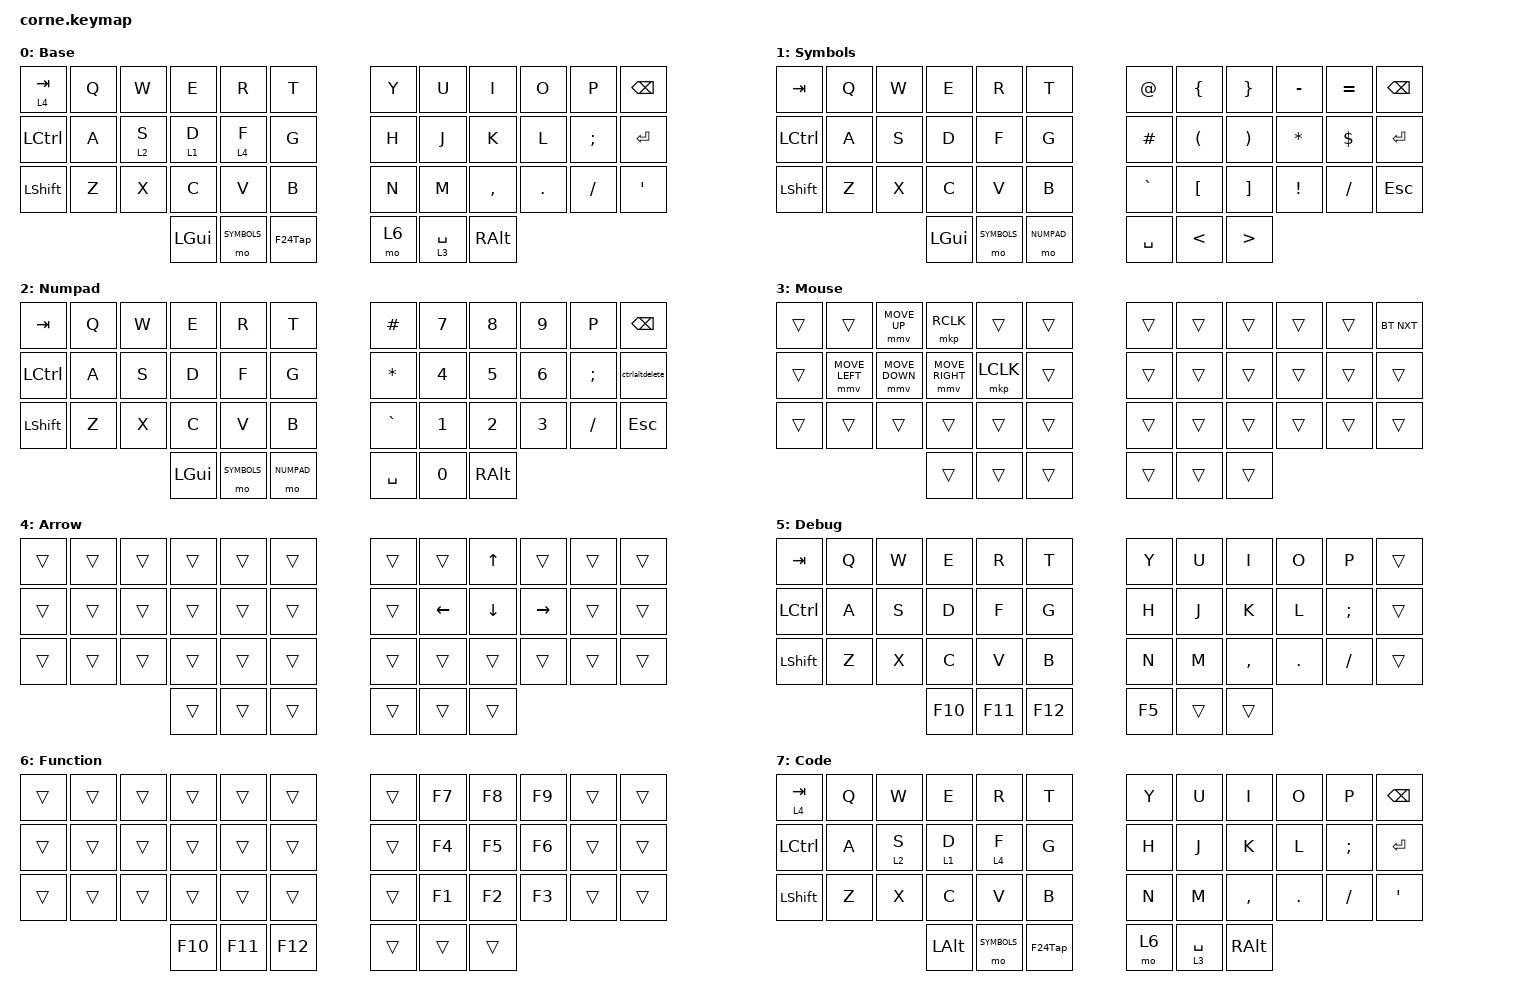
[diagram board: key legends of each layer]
/*
 * Copyright (c) 2020 The ZMK Contributors
 *
 * SPDX-License-Identifier: MIT
 */

#define DEFAULT 0
#define SYMBOLS 1
#define NUMPAD  2
#define ZMK_POINTING_DEFAULT_MOVE_VAL 1600  // default: 600

#include <behaviors.dtsi>
#include <dt-bindings/zmk/bt.h>
#include <dt-bindings/zmk/keys.h>
#include <dt-bindings/zmk/pointing.h>
#include <dt-bindings/zmk/pointing.h>

/ {
    behaviors {
        F24Tap: F24Tap {
            compatible = "zmk,behavior-tap-dance";
            label = "F24TAP";
            #binding-cells = <0>;
            bindings = <&kp LCTRL>, <&kp F24>;
        };
    };

    macros {
        ctrlaltdelete: ctrlaltdelete {
            compatible = "zmk,behavior-macro";
            #binding-cells = <0>;
            bindings =
                <&macro_press>,
                <&kp LCTRL &kp LEFT_ALT>,
                <&macro_tap>,
                <&kp DEL>,
                <&macro_release>,
                <&kp LCTRL &kp LEFT_ALT>;

            label = "CTRLALTDELETE";
        };
    };

    combos {
        compatible = "zmk,combos";

        debug {
            bindings = <&to 5>;
            key-positions = <13 14 15 16>;
        };

        base {
            bindings = <&to 0>;
            key-positions = <19 20 21 22>;
        };

        code {
            bindings = <&to 7>;
            key-positions = <3 2 4 1>;
        };
    };

    keymap {
        compatible = "zmk,keymap";

        Base {
            bindings = <
&lt 4 TAB  &kp Q  &kp W    &kp E     &kp R        &kp T      &kp Y  &kp U        &kp I      &kp O    &kp P     &kp BSPC
&kp LCTRL  &kp A  &lt 2 S  &lt 1 D   &lt 4 F      &kp G      &kp H  &kp J        &kp K      &kp L    &kp SEMI  &kp RET
&kp LSHFT  &kp Z  &kp X    &kp C     &kp V        &kp B      &kp N  &kp M        &kp COMMA  &kp DOT  &kp FSLH  &kp APOS
                           &kp LGUI  &mo SYMBOLS  &F24Tap    &mo 6  &lt 3 SPACE  &kp RALT
            >;
        };

        Symbols {
            bindings = <
&kp TAB    &kp Q  &kp W  &kp E     &kp R        &kp T         &kp AT     &kp LBRC       &kp RBRC          &kp MINUS  &kp EQUAL   &kp BSPC
&kp LCTRL  &kp A  &kp S  &kp D     &kp F        &kp G         &kp HASH   &kp LPAR       &kp RPAR          &kp STAR   &kp DOLLAR  &kp RET
&kp LSHFT  &kp Z  &kp X  &kp C     &kp V        &kp B         &kp GRAVE  &kp LBKT       &kp RBKT          &kp EXCL   &kp FSLH    &kp ESC
                         &kp LGUI  &mo SYMBOLS  &mo NUMPAD    &kp SPACE  &kp LESS_THAN  &kp GREATER_THAN
            >;
        };

        Numpad {
            bindings = <
&kp TAB    &kp Q  &kp W  &kp E     &kp R        &kp T         &kp HASH   &kp N7  &kp N8    &kp N9  &kp P     &kp BSPC
&kp LCTRL  &kp A  &kp S  &kp D     &kp F        &kp G         &kp STAR   &kp N4  &kp N5    &kp N6  &kp SEMI  &ctrlaltdelete
&kp LSHFT  &kp Z  &kp X  &kp C     &kp V        &kp B         &kp GRAVE  &kp N1  &kp N2    &kp N3  &kp FSLH  &kp ESC
                         &kp LGUI  &mo SYMBOLS  &mo NUMPAD    &kp SPACE  &kp N0  &kp RALT
            >;
        };

        Mouse {
            bindings = <
&trans  &trans          &mmv MOVE_UP    &mkp RCLK        &trans     &trans    &trans  &trans  &trans  &trans  &trans  &bt BT_NXT
&trans  &mmv MOVE_LEFT  &mmv MOVE_DOWN  &mmv MOVE_RIGHT  &mkp LCLK  &trans    &trans  &trans  &trans  &trans  &trans  &trans
&trans  &trans          &trans          &trans           &trans     &trans    &trans  &trans  &trans  &trans  &trans  &trans
                                        &trans           &trans     &trans    &trans  &trans  &trans
            >;
        };

        Arrow {
            bindings = <
&trans  &trans  &trans  &trans  &trans  &trans    &trans  &trans    &kp UP    &trans           &trans  &trans
&trans  &trans  &trans  &trans  &trans  &trans    &trans  &kp LEFT  &kp DOWN  &kp RIGHT_ARROW  &trans  &trans
&trans  &trans  &trans  &trans  &trans  &trans    &trans  &trans    &trans    &trans           &trans  &trans
                        &trans  &trans  &trans    &trans  &trans    &trans
            >;
        };

        Debug {
            bindings = <
&kp TAB    &kp Q  &kp W  &kp E    &kp R    &kp T      &kp Y   &kp U   &kp I      &kp O    &kp P     &trans
&kp LCTRL  &kp A  &kp S  &kp D    &kp F    &kp G      &kp H   &kp J   &kp K      &kp L    &kp SEMI  &trans
&kp LSHFT  &kp Z  &kp X  &kp C    &kp V    &kp B      &kp N   &kp M   &kp COMMA  &kp DOT  &kp FSLH  &trans
                         &kp F10  &kp F11  &kp F12    &kp F5  &trans  &trans
            >;
        };

        Function {
            bindings = <
&trans  &trans  &trans  &trans   &trans   &trans     &trans  &kp F7  &kp F8  &kp F9  &trans  &trans
&trans  &trans  &trans  &trans   &trans   &trans     &trans  &kp F4  &kp F5  &kp F6  &trans  &trans
&trans  &trans  &trans  &trans   &trans   &trans     &trans  &kp F1  &kp F2  &kp F3  &trans  &trans
                        &kp F10  &kp F11  &kp F12    &trans  &trans  &trans
            >;
        };

        Code {
            bindings = <
&lt 4 TAB  &kp Q  &kp W    &kp E         &kp R        &kp T      &kp Y  &kp U        &kp I      &kp O    &kp P     &kp BSPC
&kp LCTRL  &kp A  &lt 2 S  &lt 1 D       &lt 4 F      &kp G      &kp H  &kp J        &kp K      &kp L    &kp SEMI  &kp RET
&kp LSHFT  &kp Z  &kp X    &kp C         &kp V        &kp B      &kp N  &kp M        &kp COMMA  &kp DOT  &kp FSLH  &kp APOS
                           &kp LEFT_ALT  &mo SYMBOLS  &F24Tap    &mo 6  &lt 3 SPACE  &kp RALT
            >;
        };
    };
};
